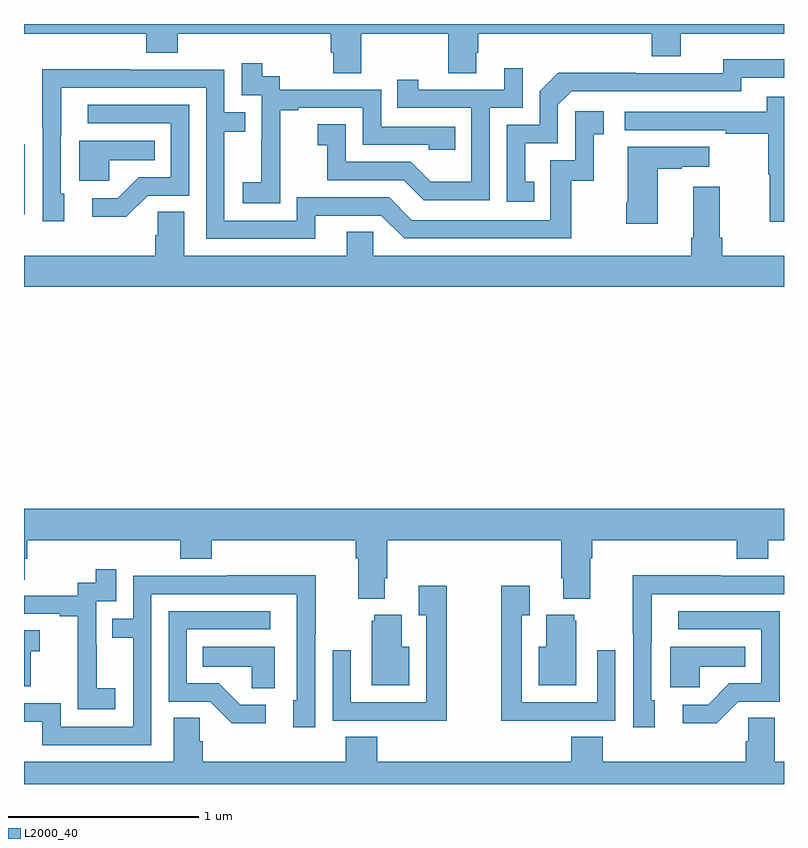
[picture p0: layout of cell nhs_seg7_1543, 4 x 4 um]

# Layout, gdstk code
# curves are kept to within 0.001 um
import gdstk
lib = gdstk.Library(unit=1e-6, precision=1e-09)
def R(c, l, rs):  # rectangles x0, y0, x1, y1
    for r in rs: c.add(gdstk.rectangle(r[:2], r[2:], *l))
def P(c, l, *ps):  # polygons
    for p in ps: c.add(gdstk.Polygon(p, *l))
L2000_40 = (2000, 40)

nhs_seg7_1543 = lib.new_cell('nhs_seg7_1543')
R(nhs_seg7_1543, L2000_40, [(217,1000.998,217.005,1001.368)])
P(nhs_seg7_1543, L2000_40, [(218.775,1001.948),(219.232,1001.948),(219.232,1001.74),(219.379,1001.74),(219.379,1001.85),(219.392,1001.85),(219.392,1001.948),(220.304,1001.948),(220.304,1001.831),(220.456,1001.831),(220.456,1001.948),(221,1001.948),(221,1002),(217,1002),(217,1001.948),(217.643,1001.948),(217.643,1001.849),(217.808,1001.849),(217.808,1001.948),(218.615,1001.948),(218.615,1001.85),(218.627,1001.85),(218.627,1001.74),(218.775,1001.74)],
  [(219.686,1001.169),(219.637,1001.169),(219.637,1001.373),(219.81,1001.373),(219.81,1001.574),(219.882,1001.646),(220.776,1001.646),(220.776,1001.718),(221,1001.718),(221,1001.815),(220.68,1001.815),(220.68,1001.742),(220.22,1001.742),(220.22,1001.744),(219.812,1001.744),(219.714,1001.646),(219.714,1001.469),(219.54,1001.469),(219.54,1001.064),(219.686,1001.064)],
  [(218.349,1001.263),(218.348,1001.263),(218.348,1001.547),(218.443,1001.547),(218.443,1001.559),(218.784,1001.559),(218.784,1001.364),(219.129,1001.364),(219.129,1001.337),(219.269,1001.337),(219.269,1001.46),(218.88,1001.46),(218.88,1001.655),(218.346,1001.655),(218.346,1001.724),(218.254,1001.724),(218.254,1001.794),(218.145,1001.794),(218.145,1001.625),(218.25,1001.625),(218.25,1001.396),(218.249,1001.396),(218.249,1001.167),(218.151,1001.167),(218.151,1001.057),(218.349,1001.057)],
  [(219.45,1001.559),(219.624,1001.559),(219.624,1001.767),(219.527,1001.767),(219.527,1001.655),(219.076,1001.655),(219.076,1001.707),(218.965,1001.707),(218.965,1001.559),(219.354,1001.559),(219.354,1001.17),(219.14,1001.17),(219.036,1001.274),(218.694,1001.274),(218.694,1001.473),(218.547,1001.473),(218.547,1001.363),(218.596,1001.363),(218.596,1001.178),(218.999,1001.178),(219.104,1001.073),(219.45,1001.073)],
  [(218.533,1000.992),(218.88,1000.992),(219,1000.872),(219.88,1000.872),(219.88,1001.175),(219.998,1001.175),(219.998,1001.421),(220.051,1001.421),(220.051,1001.542),(219.9,1001.542),(219.9,1001.283),(219.771,1001.283),(219.771,1000.968),(219.042,1000.968),(218.922,1001.088),(218.436,1001.088),(218.436,1000.965),(218.055,1000.965),(218.055,1001.434),(218.165,1001.434),(218.165,1001.535),(218.055,1001.535),(218.055,1001.76),(217.559,1001.76),(217.559,1001.762),(217.096,1001.762),(217.096,1001.455),(217.098,1001.455),(217.098,1000.962),(217.213,1000.962),(217.213,1001.106),(217.194,1001.106),(217.195,1001.664),(217.959,1001.664),(217.959,1000.869),(218.533,1000.869)],
  [(221,1001.617),(220.909,1001.617),(220.909,1001.538),(220.161,1001.538),(220.161,1001.442),(220.693,1001.442),(220.693,1001.422),(220.917,1001.422),(220.917,1001.208),(220.924,1001.208),(220.924,1000.959),(221,1000.959)],
  [(217.65,1001.097),(217.869,1001.097),(217.869,1001.574),(217.335,1001.574),(217.335,1001.478),(217.773,1001.478),(217.773,1001.193),(217.604,1001.193),(217.493,1001.082),(217.359,1001.082),(217.359,1000.985),(217.537,1000.985)],
  [(217.449,1001.282),(217.688,1001.282),(217.688,1001.386),(217.292,1001.386),(217.292,1001.174),(217.449,1001.174)],
  [(220.336,1001.239),(220.463,1001.239),(220.463,1001.249),(220.606,1001.249),(220.606,1001.353),(220.178,1001.353),(220.178,1001.062),(220.171,1001.062),(220.171,1000.95),(220.336,1000.95)],
  [(221,1000.78),(220.676,1000.78),(220.676,1000.876),(220.663,1000.876),(220.663,1001.143),(220.523,1001.143),(220.523,1000.876),(220.511,1000.876),(220.511,1000.78),(218.838,1000.78),(218.838,1000.907),(218.699,1000.907),(218.699,1000.78),(217.843,1000.78),(217.843,1001.012),(217.704,1001.012),(217.704,1000.889),(217.691,1000.889),(217.691,1000.78),(217,1000.78),(217,1000.616),(221,1000.616)],
  [(218.899,999.082),(218.912,999.082),(218.912,999.284),(219.827,999.284),(219.827,999.082),(219.839,999.082),(219.839,998.975),(219.979,998.975),(219.979,999.188),(219.992,999.188),(219.992,999.284),(220.751,999.284),(220.751,999.185),(220.916,999.185),(220.916,999.284),(221,999.284),(221,999.448),(217,999.448),(217,999.076),(217.003,999.076),(217.003,999.186),(217.016,999.186),(217.016,999.284),(217.823,999.284),(217.823,999.185),(217.988,999.185),(217.988,999.284),(218.747,999.284),(218.747,999.188),(218.759,999.188),(218.759,998.975),(218.899,998.975)],
  [(217.48,998.503),(217.382,998.503),(217.382,998.732),(217.38,998.732),(217.38,998.961),(217.485,998.961),(217.485,999.13),(217.377,999.13),(217.377,999.06),(217.284,999.06),(217.284,998.991),(217,998.991),(217,998.895),(217.187,998.895),(217.187,998.883),(217.283,998.883),(217.283,998.599),(217.282,998.599),(217.282,998.393),(217.48,998.393)],
  [(220.321,998.442),(220.302,998.442),(220.302,998.746),(220.303,998.746),(220.303,999),(221,999),(221,999.096),(220.667,999.096),(220.667,999.098),(220.204,999.098),(220.204,998.791),(220.206,998.791),(220.206,998.298),(220.321,998.298)],
  [(217.671,999),(218.436,999),(218.436,998.442),(218.417,998.442),(218.417,998.298),(218.532,998.298),(218.532,998.791),(218.535,998.791),(218.535,999.098),(218.071,999.098),(218.071,999.096),(217.575,999.096),(217.575,998.871),(217.465,998.871),(217.465,998.77),(217.575,998.77),(217.575,998.301),(217.194,998.301),(217.194,998.424),(217,998.424),(217,998.328),(217.097,998.328),(217.097,998.205),(217.671,998.205)],
  [(219.226,999.043),(219.077,999.043),(219.077,998.887),(219.117,998.887),(219.117,998.43),(218.721,998.43),(218.721,998.704),(218.625,998.704),(218.625,998.334),(218.941,998.334),(218.941,998.333),(219.226,998.333)],
  [(219.797,998.334),(220.113,998.334),(220.113,998.704),(220.017,998.704),(220.017,998.43),(219.621,998.43),(219.621,998.887),(219.661,998.887),(219.661,999.043),(219.513,999.043),(219.513,998.333),(219.797,998.333)],
  [(220.758,998.433),(220.977,998.433),(220.977,998.91),(220.443,998.91),(220.443,998.814),(220.881,998.814),(220.881,998.529),(220.712,998.529),(220.601,998.418),(220.467,998.418),(220.467,998.321),(220.645,998.321)],
  [(218.272,998.418),(218.137,998.418),(218.026,998.529),(217.857,998.529),(217.857,998.814),(218.296,998.814),(218.296,998.91),(217.761,998.91),(217.761,998.433),(217.98,998.433),(218.093,998.321),(218.272,998.321)],
  [(219.028,998.722),(218.989,998.722),(218.989,998.89),(218.843,998.89),(218.843,998.859),(218.831,998.859),(218.831,998.519),(219.028,998.519)],
  [(219.907,998.859),(219.896,998.859),(219.896,998.89),(219.749,998.89),(219.749,998.722),(219.71,998.722),(219.71,998.519),(219.907,998.519)],
  [(217.035,998.699),(217.084,998.699),(217.084,998.809),(217,998.809),(217,998.514),(217.035,998.514)],
  [(220.557,998.618),(220.796,998.618),(220.796,998.722),(220.4,998.722),(220.4,998.51),(220.557,998.51)],
  [(218.32,998.722),(217.942,998.722),(217.942,998.618),(218.199,998.618),(218.199,998.503),(218.32,998.503)],
  [(221,998.116),(220.951,998.116),(220.951,998.348),(220.812,998.348),(220.812,998.225),(220.799,998.225),(220.799,998.116),(220.046,998.116),(220.046,998.249),(219.881,998.249),(219.881,998.116),(218.858,998.116),(218.858,998.249),(218.693,998.249),(218.693,998.116),(217.94,998.116),(217.94,998.225),(217.926,998.225),(217.926,998.348),(217.787,998.348),(217.787,998.116),(217,998.116),(217,998),(221,998)])

lib.write_gds('nhs_seg7_1543.gds')
